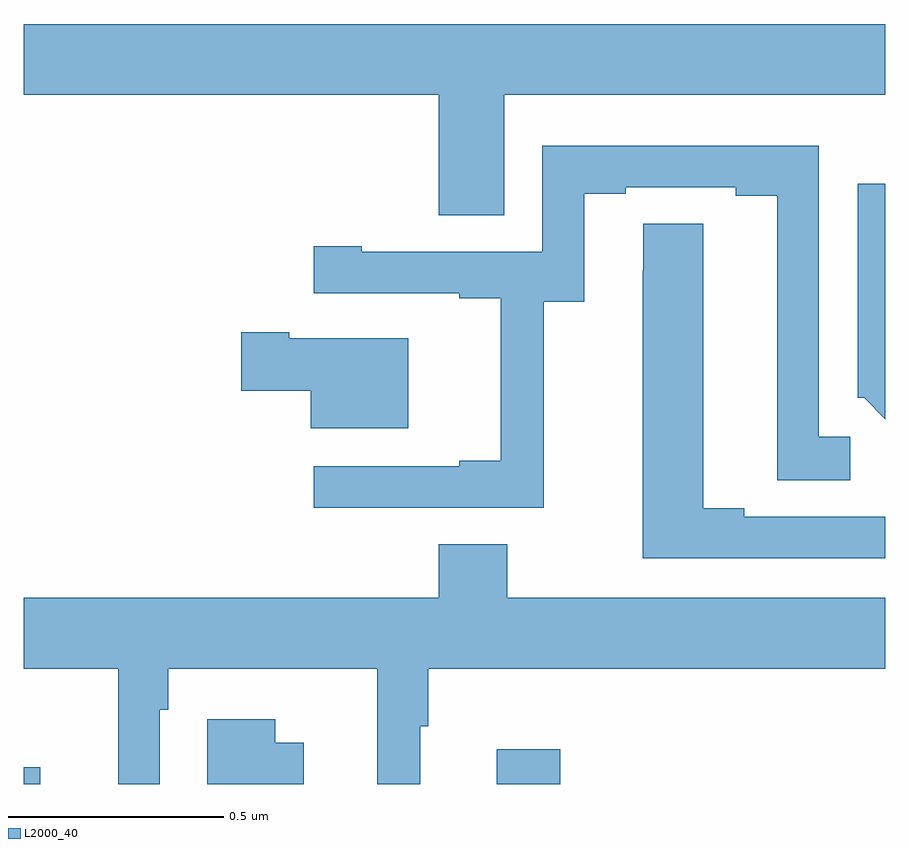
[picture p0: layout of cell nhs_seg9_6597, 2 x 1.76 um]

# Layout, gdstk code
import gdstk
lib = gdstk.Library(unit=1e-6, precision=1e-09)
def R(c, l, rs):  # rectangles x0, y0, x1, y1
    for r in rs: c.add(gdstk.rectangle(r[:2], r[2:], *l))
def P(c, l, *ps):  # polygons
    for p in ps: c.add(gdstk.Polygon(p, *l))
L2000_40 = (2000, 40)

nhs_seg9_6597 = lib.new_cell('nhs_seg9_6597')
R(nhs_seg9_6597, L2000_40, [(194,1181.5,194.039,1181.539), (195.098,1181.5,195.245,1181.581)])
P(nhs_seg9_6597, L2000_40, [(195.115,1183.1),(196,1183.1),(196,1183.264),(194,1183.264),(194,1183.1),(194.963,1183.1),(194.963,1182.82),(195.115,1182.82)],
  [(195.207,1182.619),(195.301,1182.619),(195.301,1182.87),(195.397,1182.87),(195.397,1182.885),(195.653,1182.885),(195.653,1182.865),(195.749,1182.865),(195.749,1182.205),(195.919,1182.205),(195.919,1182.306),(195.846,1182.306),(195.846,1182.981),(195.204,1182.981),(195.204,1182.735),(194.785,1182.735),(194.785,1182.748),(194.673,1182.748),(194.673,1182.639),(195.011,1182.639),(195.011,1182.627),(195.107,1182.627),(195.107,1182.25),(195.011,1182.25),(195.011,1182.237),(194.673,1182.237),(194.673,1182.141),(195.207,1182.141)],
  [(196,1182.893),(195.936,1182.893),(195.936,1182.396),(195.951,1182.396),(196,1182.347)],
  [(196,1182.12),(195.673,1182.12),(195.673,1182.14),(195.577,1182.14),(195.577,1182.8),(195.438,1182.8),(195.438,1182.692),(195.437,1182.692),(195.437,1182.024),(196,1182.024)],
  [(194.893,1182.535),(194.617,1182.535),(194.617,1182.548),(194.505,1182.548),(194.505,1182.413),(194.666,1182.413),(194.666,1182.326),(194.893,1182.326)],
  [(194.316,1181.672),(194.336,1181.672),(194.336,1181.768),(194.821,1181.768),(194.821,1181.5),(194.92,1181.5),(194.92,1181.634),(194.939,1181.634),(194.939,1181.768),(196,1181.768),(196,1181.932),(195.123,1181.932),(195.123,1182.056),(194.963,1182.056),(194.963,1181.932),(194,1181.932),(194,1181.768),(194.219,1181.768),(194.219,1181.5),(194.316,1181.5)],
  [(194.65,1181.596),(194.584,1181.596),(194.584,1181.65),(194.426,1181.65),(194.426,1181.5),(194.65,1181.5)])

lib.write_gds('nhs_seg9_6597.gds')
